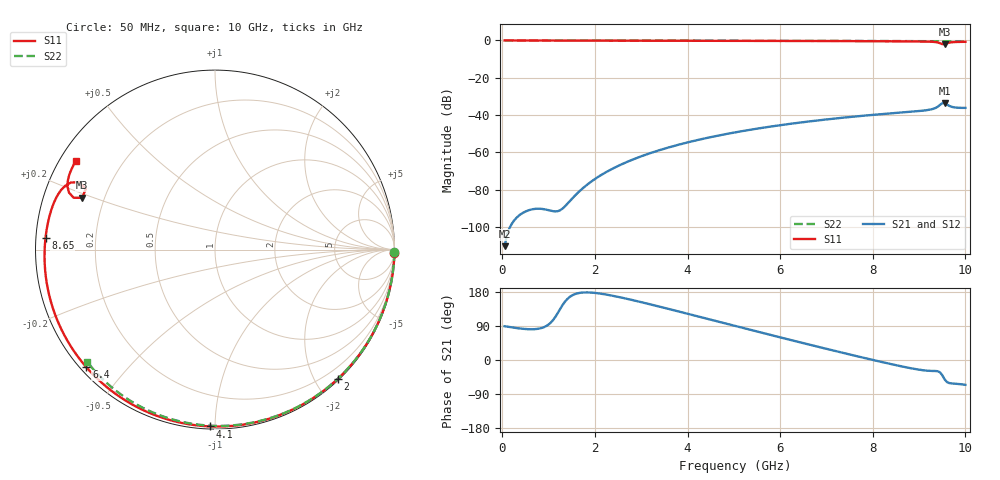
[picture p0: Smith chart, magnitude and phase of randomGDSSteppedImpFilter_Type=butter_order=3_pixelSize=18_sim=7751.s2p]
! freq	dB(S11)	phase(S11)	dB(S12)	phase(S12)
!  dB(S21)	phase(S21)	dB(S22)	phase(S22)
!S-par simulation data
#  GHz  S  DB  R 50
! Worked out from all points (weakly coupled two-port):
!   200 points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, 50 MHz to 10 GHz, reference 50 ohm
!   highest |S21| = -33.60 dB at 9.55 GHz (marker M1); lowest = -110.3 dB at 50 MHz (marker M2)
!   lowest |S11| = -2.0 dB at 9.55 GHz (marker M3), VSWR 8.73, Z = 5.93 + j9.27 ohm
!   |S11| at or under -10 dB: nowhere
!   |S22| runs from -0.5 to 0.0 dB; largest |S21 - S12| = 0
!   S11 on the Smith chart (normalised r, x): 50 MHz: 0, -95; 2 GHz: 0.02, -2.32; 4.1 GHz: 0.01, -0.97; 6.4 GHz: 0.02, -0.39; 8.65 GHz: 0.03, +0.03; 10 GHz: 0.05, +0.29
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0.05  -0.00 -1.2  -110.33 89.1  -110.33 89.1  -0.00 -0.8
0.85  -0.03 -20.1  -90.34 84.5  -90.34 84.5  -0.02 -13.6
1.7  -0.05 -39.8  -80.11 177.6  -80.11 177.6  -0.03 -26.9
1.75  -0.05 -40.9  -79.03 178.2  -79.03 178.2  -0.04 -27.7
2  -0.06 -46.6  -74.31 177.0  -74.31 177.0  -0.04 -31.6
2.3  -0.07 -53.3  -69.82 171.5  -69.82 171.5  -0.05 -36.2
2.6  -0.08 -59.9  -66.16 164.0  -66.16 164.0  -0.05 -40.7
3.4  -0.10 -77.2  -58.80 140.7  -58.80 140.7  -0.07 -52.7
4.1  -0.13 -91.8  -54.08 119.0  -54.08 119.0  -0.09 -62.8
5.05  -0.17 -110.9  -49.20 89.2  -49.20 89.2  -0.12 -76.1
5.7  -0.21 -123.8  -46.54 69.0  -46.54 69.0  -0.14 -85.0
6.4  -0.25 -137.5  -44.13 47.5  -44.13 47.5  -0.17 -94.2
6.7  -0.28 -143.4  -43.21 38.4  -43.21 38.4  -0.19 -98.1
7.55  -0.35 -160.5  -40.95 13.1  -40.95 13.1  -0.24 -108.9
8.35  -0.44 -177.3  -39.18 -9.6  -39.18 -9.6  -0.30 -118.8
8.65  -0.48 176.0  -38.58 -17.5  -38.58 -17.5  -0.33 -122.4
9.15  -0.59 163.6  -37.45 -27.9  -37.45 -27.9  -0.38 -128.5
9.4  -1.05 155.1  -35.57 -29.6  -35.57 -29.6  -0.40 -131.5
9.5  -1.99 154.8  -33.64 -40.0  -33.64 -40.0  -0.41 -132.7
9.55  -2.00 158.7  -33.60 -50.9  -33.60 -50.9  -0.42 -133.3
9.7  -0.98 156.9  -35.57 -61.8  -35.57 -61.8  -0.43 -135.2
10  -0.73 147.6  -36.17 -65.5  -36.17 -65.5  -0.47 -138.8
